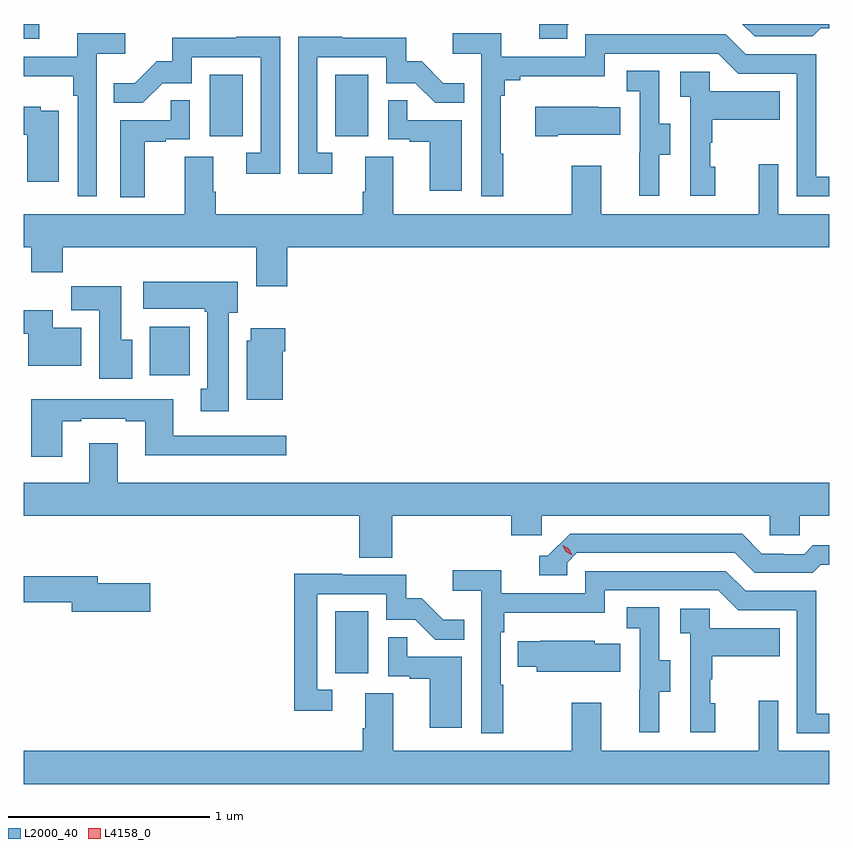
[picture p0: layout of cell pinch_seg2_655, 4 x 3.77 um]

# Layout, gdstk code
import gdstk
lib = gdstk.Library(unit=1e-6, precision=1e-09)
def R(c, l, rs):  # rectangles x0, y0, x1, y1
    for r in rs: c.add(gdstk.rectangle(r[:2], r[2:], *l))
def P(c, l, *ps):  # polygons
    for p in ps: c.add(gdstk.Polygon(p, *l))
L2000_40 = (2000, 40)
L4158_0 = (4158, 0)

pinch_seg2_655 = lib.new_cell('pinch_seg2_655')
R(pinch_seg2_655, L2000_40, [(1024.46,590.91,1024.624,591.217), (1023.539,592.388,1023.736,592.63), (1023.836,593.574,1024,593.881), (1024.46,593.574,1024.624,593.881), (1022.912,594.06,1022.989,594.132)])
P(pinch_seg2_655, L2000_40, [(1025.61,594.123),(1025.619,594.132),(1025.471,594.132),(1025.471,594.06),(1025.61,594.06)],
  [(1026.868,594.111),(1026.912,594.111),(1026.912,594.132),(1026.48,594.132),(1026.54,594.072),(1026.829,594.072)],
  [(1025.293,593.489),(1025.281,593.489),(1025.281,593.777),(1025.3,593.777),(1025.3,593.854),(1025.377,593.854),(1025.377,593.873),(1025.796,593.873),(1025.796,593.985),(1026.36,593.985),(1026.459,593.886),(1026.75,593.886),(1026.75,593.277),(1026.912,593.277),(1026.912,593.373),(1026.846,593.373),(1026.846,593.982),(1026.496,593.982),(1026.397,594.081),(1025.7,594.081),(1025.7,593.97),(1025.282,593.97),(1025.282,594.086),(1025.043,594.086),(1025.043,593.984),(1025.184,593.984),(1025.184,593.277),(1025.293,593.277)],
  [(1023.276,593.984),(1023.418,593.984),(1023.418,594.086),(1023.179,594.086),(1023.179,593.97),(1022.912,593.97),(1022.912,593.873),(1023.16,593.873),(1023.16,593.777),(1023.18,593.777),(1023.18,593.277),(1023.276,593.277)],
  [(1024.444,593.493),(1024.371,593.493),(1024.371,593.967),(1024.713,593.967),(1024.713,593.838),(1024.857,593.838),(1024.955,593.74),(1025.099,593.74),(1025.099,593.839),(1024.995,593.839),(1024.888,593.946),(1024.812,593.946),(1024.812,594.063),(1024.493,594.063),(1024.493,594.068),(1024.275,594.068),(1024.275,593.388),(1024.444,593.388)],
  [(1024.185,594.068),(1023.967,594.068),(1023.967,594.063),(1023.649,594.063),(1023.649,593.946),(1023.572,593.946),(1023.465,593.839),(1023.361,593.839),(1023.361,593.74),(1023.504,593.74),(1023.602,593.838),(1023.747,593.838),(1023.747,593.967),(1024.089,593.967),(1024.089,593.493),(1024.017,593.493),(1024.017,593.388),(1024.185,593.388)],
  [(1026.067,593.482),(1026.121,593.482),(1026.121,593.637),(1026.066,593.637),(1026.066,593.9),(1025.907,593.9),(1025.907,593.797),(1025.97,593.797),(1025.97,593.493),(1025.969,593.493),(1025.969,593.28),(1026.067,593.28)],
  [(1026.346,593.424),(1026.321,593.424),(1026.321,593.543),(1026.331,593.543),(1026.331,593.657),(1026.665,593.657),(1026.665,593.797),(1026.318,593.797),(1026.318,593.895),(1026.171,593.895),(1026.171,593.771),(1026.222,593.771),(1026.222,593.28),(1026.346,593.28)],
  [(1023.514,593.547),(1023.617,593.547),(1023.617,593.559),(1023.738,593.559),(1023.738,593.753),(1023.643,593.753),(1023.643,593.655),(1023.392,593.655),(1023.392,593.273),(1023.514,593.273)],
  [(1025.086,593.655),(1024.817,593.655),(1024.817,593.753),(1024.722,593.753),(1024.722,593.559),(1024.829,593.559),(1024.829,593.547),(1024.928,593.547),(1024.928,593.304),(1025.086,593.304)],
  [(1023.088,593.701),(1022.997,593.701),(1022.997,593.722),(1022.912,593.722),(1022.912,593.582),(1022.93,593.582),(1022.93,593.349),(1023.088,593.349)],
  [(1025.563,593.582),(1025.873,593.582),(1025.873,593.719),(1025.765,593.719),(1025.765,593.722),(1025.451,593.722),(1025.451,593.575),(1025.563,593.575)],
  [(1024.22,593.024),(1026.912,593.024),(1026.912,593.188),(1026.657,593.188),(1026.657,593.437),(1026.56,593.437),(1026.56,593.188),(1025.779,593.188),(1025.779,593.428),(1025.632,593.428),(1025.632,593.188),(1024.747,593.188),(1024.747,593.474),(1024.607,593.474),(1024.607,593.3),(1024.595,593.3),(1024.595,593.188),(1023.866,593.188),(1023.866,593.3),(1023.853,593.3),(1023.853,593.474),(1023.713,593.474),(1023.713,593.188),(1022.912,593.188),(1022.912,593.024),(1022.951,593.024),(1022.951,592.9),(1023.107,592.9),(1023.107,593.024),(1024.067,593.024),(1024.067,592.83),(1024.22,592.83)],
  [(1023.931,592.698),(1023.976,592.698),(1023.976,592.852),(1023.507,592.852),(1023.507,592.718),(1023.811,592.718),(1023.811,592.705),(1023.824,592.705),(1023.824,592.322),(1023.791,592.322),(1023.791,592.209),(1023.931,592.209)],
  [(1023.451,592.564),(1023.397,592.564),(1023.397,592.831),(1023.148,592.831),(1023.148,592.712),(1023.287,592.712),(1023.287,592.371),(1023.451,592.371)],
  [(1023.199,592.624),(1023.058,592.624),(1023.058,592.712),(1022.912,592.712),(1022.912,592.594),(1022.936,592.594),(1022.936,592.436),(1023.199,592.436)],
  [(1024.198,592.508),(1024.211,592.508),(1024.211,592.621),(1024.04,592.621),(1024.04,592.56),(1024.019,592.56),(1024.019,592.268),(1024.198,592.268)],
  [(1023.103,592.161),(1023.199,592.161),(1023.199,592.173),(1023.419,592.173),(1023.419,592.161),(1023.515,592.161),(1023.515,591.992),(1024.216,591.992),(1024.216,592.089),(1023.655,592.089),(1023.655,592.269),(1023.195,592.269),(1023.195,592.27),(1022.951,592.27),(1022.951,591.984),(1023.103,591.984)],
  [(1024.742,591.692),(1025.333,591.692),(1025.333,591.594),(1025.484,591.594),(1025.484,591.692),(1026.615,591.692),(1026.615,591.594),(1026.765,591.594),(1026.765,591.692),(1026.912,591.692),(1026.912,591.856),(1023.379,591.856),(1023.379,592.051),(1023.239,592.051),(1023.239,591.856),(1022.912,591.856),(1022.912,591.692),(1024.577,591.692),(1024.577,591.484),(1024.742,591.484)],
  [(1025.61,591.459),(1025.658,591.507),(1026.441,591.507),(1026.54,591.408),(1026.829,591.408),(1026.868,591.447),(1026.912,591.447),(1026.912,591.544),(1026.829,591.544),(1026.787,591.501),(1026.684,591.501),(1026.684,591.504),(1026.577,591.504),(1026.478,591.603),(1025.625,591.603),(1025.514,591.492),(1025.471,591.492),(1025.471,591.396),(1025.61,591.396)],
  [(1025.293,590.852),(1025.28,590.852),(1025.28,591.113),(1025.297,591.113),(1025.297,591.209),(1025.796,591.209),(1025.796,591.321),(1026.36,591.321),(1026.459,591.222),(1026.75,591.222),(1026.75,590.613),(1026.912,590.613),(1026.912,590.709),(1026.846,590.709),(1026.846,591.318),(1026.496,591.318),(1026.397,591.417),(1025.7,591.417),(1025.7,591.306),(1025.282,591.306),(1025.282,591.422),(1025.043,591.422),(1025.043,591.32),(1025.184,591.32),(1025.184,590.613),(1025.293,590.613)],
  [(1024.444,590.829),(1024.371,590.829),(1024.371,591.303),(1024.713,591.303),(1024.713,591.174),(1024.857,591.174),(1024.955,591.076),(1025.099,591.076),(1025.099,591.175),(1024.995,591.175),(1024.888,591.282),(1024.812,591.282),(1024.812,591.399),(1024.493,591.399),(1024.493,591.404),(1024.255,591.404),(1024.255,590.724),(1024.444,590.724)],
  [(1023.541,591.357),(1023.28,591.357),(1023.28,591.391),(1022.912,591.391),(1022.912,591.262),(1023.152,591.262),(1023.152,591.215),(1023.541,591.215)],
  [(1026.067,590.818),(1026.121,590.818),(1026.121,590.973),(1026.066,590.973),(1026.066,591.236),(1025.907,591.236),(1025.907,591.133),(1025.97,591.133),(1025.97,590.829),(1025.969,590.829),(1025.969,590.616),(1026.067,590.616)],
  [(1026.346,590.76),(1026.321,590.76),(1026.321,590.879),(1026.331,590.879),(1026.331,590.993),(1026.665,590.993),(1026.665,591.133),(1026.318,591.133),(1026.318,591.231),(1026.171,591.231),(1026.171,591.107),(1026.222,591.107),(1026.222,590.616),(1026.346,590.616)],
  [(1025.086,590.991),(1024.817,590.991),(1024.817,591.089),(1024.722,591.089),(1024.722,590.895),(1024.829,590.895),(1024.829,590.883),(1024.928,590.883),(1024.928,590.64),(1025.086,590.64)],
  [(1025.873,591.055),(1025.748,591.055),(1025.748,591.07),(1025.476,591.07),(1025.476,591.069),(1025.365,591.069),(1025.365,590.941),(1025.459,590.941),(1025.459,590.918),(1025.873,590.918)],
  [(1026.912,590.524),(1026.657,590.524),(1026.657,590.773),(1026.56,590.773),(1026.56,590.524),(1025.779,590.524),(1025.779,590.764),(1025.632,590.764),(1025.632,590.524),(1024.747,590.524),(1024.747,590.81),(1024.607,590.81),(1024.607,590.636),(1024.595,590.636),(1024.595,590.524),(1022.912,590.524),(1022.912,590.36),(1026.912,590.36)])
P(pinch_seg2_655, L4158_0, [(1025.635,591.495),(1025.604,591.513),(1025.587,591.545),(1025.587,591.545),(1025.588,591.545),(1025.619,591.527),(1025.636,591.495),(1025.636,591.495)])

lib.write_gds('pinch_seg2_655.gds')
